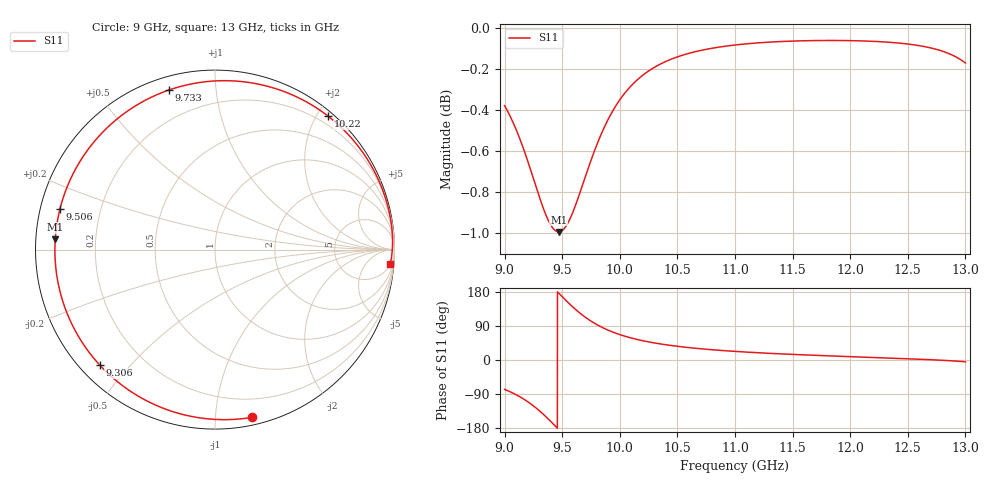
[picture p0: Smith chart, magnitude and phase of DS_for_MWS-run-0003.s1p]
! TOUCHSTONE file generated by CST DESIGN STUDIO
! Date and time: Tue Feb  4 17:06:41 2025
! Project name: C:\Work\MatlabApps\UnitCellOptimizationMatlab\CST\unitcell.cst
! Tree item: Tasks\Sweep1\SPara1\S-Parameters
! Header version: 2024
! Port assignment regex: !\s*Touchstone port\s*([0-9]+)\s*=\s*(CST MWS port|CST DES external port|CST DES block port)\s*(.+)\s* \(\"(.*)\"\)(\s*mode\s*([0-9]+))?.*
! Touchstone port assignment:
! Touchstone port 1 = CST DES external port 1 ("")
# GHz S MA R 50
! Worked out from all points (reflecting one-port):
!   4001 points, 9 GHz to 13 GHz, reference 50 ohm
!   lowest |S11| = -1.0 dB at 9.47 GHz (marker M1), VSWR 17.52, Z = 2.86 + j1.58 ohm
!   phase of S11 starts at -78 deg and turns -287 deg over the sweep
!   S11 on the Smith chart (normalised r, x): 9 GHz: 0.06, -1.24; 9.306 GHz: 0.06, -0.41; 9.506 GHz: 0.06, +0.13; 9.733 GHz: 0.06, +0.75; 10.22 GHz: 0.07, +2.16; 13 GHz: 6, -24
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9  0.9573 -77.5
9.075  0.9481 -87.7
9.173  0.933 -104.5
9.242  0.9205 -119.2
9.306  0.9089 -135.1
9.348  0.902 -146.6
9.394  0.8961 -160.1
9.432  0.8931 -171.8
9.47  0.892 176.4
9.5  0.8927 167.1
9.506  0.893 165.2
9.559  0.8975 149.3
9.621  0.9062 132.1
9.676  0.9156 118.4
9.733  0.9256 106.0
9.845  0.9431 86.3
9.921  0.9525 75.9
10  0.9604 67.0
10.103  0.9683 57.8
10.218  0.9746 49.7
10.348  0.9797 42.6
10.5  0.9838 36.1
10.722  0.9876 29.1
11  0.9904 22.7
11.5  0.9925 14.8
12  0.9928 8.9
12.5  0.9909 3.4
13  0.9804 -4.6
